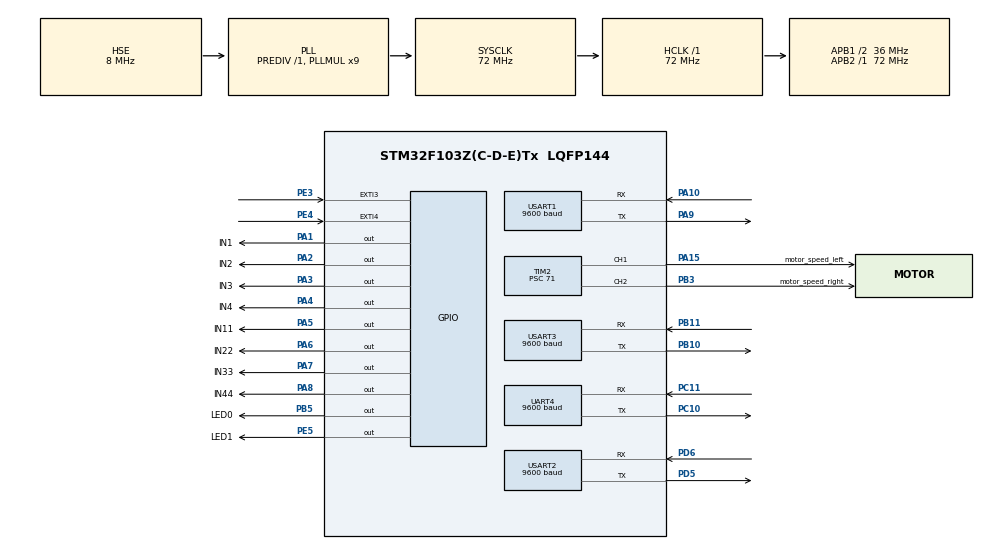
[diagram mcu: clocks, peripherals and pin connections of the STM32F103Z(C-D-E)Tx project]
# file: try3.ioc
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Mcu.Family=STM32F1
Mcu.Name=STM32F103Z(C-D-E)Tx
Mcu.Package=LQFP144
NVIC.EXTI3_IRQn=true\:0\:0\:false\:false\:true\:true\:true
NVIC.EXTI4_IRQn=true\:0\:0\:false\:false\:true\:true\:true
NVIC.PriorityGroup=NVIC_PRIORITYGROUP_4
NVIC.UART4_IRQn=true\:0\:0\:false\:false\:true\:true\:true
NVIC.USART1_IRQn=true\:0\:0\:false\:false\:true\:true\:true
NVIC.USART2_IRQn=true\:0\:0\:false\:false\:true\:true\:true
NVIC.USART3_IRQn=true\:0\:0\:false\:false\:true\:true\:true
OSC_IN.Mode=HSE-External-Oscillator
OSC_IN.Signal=RCC_OSC_IN
OSC_OUT.Mode=HSE-External-Oscillator
OSC_OUT.Signal=RCC_OSC_OUT
PA1.GPIO_Label=IN1
PA1.GPIO_PuPd=GPIO_PULLUP
PA1.GPIO_Speed=GPIO_SPEED_FREQ_HIGH
PA1.PinState=GPIO_PIN_SET
PA1.Signal=GPIO_Output
PA10.Mode=Asynchronous
PA10.Signal=USART1_RX
PA13.Mode=Serial_Wire
PA13.Signal=SYS_JTMS-SWDIO
PA14.Mode=Serial_Wire
PA14.Signal=SYS_JTCK-SWCLK
PA15.GPIO_Label=motor_speed_left
PA15.GPIO_Speed=GPIO_SPEED_FREQ_HIGH
PA15.Signal=S_TIM2_CH1_ETR
PA2.GPIO_Label=IN2
PA2.GPIO_PuPd=GPIO_PULLUP
PA2.GPIO_Speed=GPIO_SPEED_FREQ_HIGH
PA2.PinState=GPIO_PIN_SET
PA2.Signal=GPIO_Output
PA3.GPIO_Label=IN3
PA3.GPIO_PuPd=GPIO_PULLUP
PA3.GPIO_Speed=GPIO_SPEED_FREQ_HIGH
PA3.PinState=GPIO_PIN_SET
PA3.Signal=GPIO_Output
PA4.GPIO_Label=IN4
PA4.GPIO_PuPd=GPIO_PULLUP
PA4.GPIO_Speed=GPIO_SPEED_FREQ_HIGH
PA4.PinState=GPIO_PIN_SET
PA4.Signal=GPIO_Output
PA5.GPIO_Label=IN11
PA5.GPIO_PuPd=GPIO_PULLUP
PA5.GPIO_Speed=GPIO_SPEED_FREQ_HIGH
PA5.PinState=GPIO_PIN_SET
PA5.Signal=GPIO_Output
PA6.GPIO_Label=IN22
PA6.GPIO_PuPd=GPIO_PULLUP
PA6.GPIO_Speed=GPIO_SPEED_FREQ_HIGH
PA6.PinState=GPIO_PIN_SET
PA6.Signal=GPIO_Output
PA7.GPIO_Label=IN33
PA7.GPIO_PuPd=GPIO_PULLUP
PA7.GPIO_Speed=GPIO_SPEED_FREQ_HIGH
PA7.PinState=GPIO_PIN_SET
PA7.Signal=GPIO_Output
PA8.GPIO_Label=IN44
PA8.GPIO_PuPd=GPIO_PULLUP
PA8.GPIO_Speed=GPIO_SPEED_FREQ_HIGH
PA8.PinState=GPIO_PIN_SET
PA8.Signal=GPIO_Output
PA9.Mode=Asynchronous
PA9.Signal=USART1_TX
PB10.Mode=Asynchronous
PB10.Signal=USART3_TX
PB11.Mode=Asynchronous
PB11.Signal=USART3_RX
PB3.GPIO_Label=motor_speed_right
PB3.GPIO_Speed=GPIO_SPEED_FREQ_HIGH
PB3.Signal=S_TIM2_CH2
PB5.GPIO_Label=LED0
PB5.Signal=GPIO_Output
PC10.Mode=Asynchronous
PC10.Signal=UART4_TX
PC11.Mode=Asynchronous
PC11.Signal=UART4_RX
PC14-OSC32_IN.Mode=LSE-External-Oscillator
PC14-OSC32_IN.Signal=RCC_OSC32_IN
PC15-OSC32_OUT.Mode=LSE-External-Oscillator
PC15-OSC32_OUT.Signal=RCC_OSC32_OUT
PD5.Mode=Asynchronous
PD5.Signal=USART2_TX
PD6.Mode=Asynchronous
PD6.Signal=USART2_RX
PE3.GPIO_ModeDefaultEXTI=GPIO_MODE_IT_FALLING
PE3.GPIO_PuPd=GPIO_PULLUP
PE3.Signal=GPXTI3
PE4.GPIO_PuPd=GPIO_PULLUP
PE4.Signal=GPXTI4
PE5.GPIO_Label=LED1
PE5.Signal=GPIO_Output
ProjectManager.HeapSize=0x200
ProjectManager.StackSize=0x400
ProjectManager.TargetToolchain=MDK-ARM V5.32
RCC.AHBFreq_Value=72000000
RCC.APB1CLKDivider=RCC_HCLK_DIV2
RCC.APB1Freq_Value=36000000
RCC.APB1TimFreq_Value=72000000
RCC.APB2Freq_Value=72000000
RCC.APB2TimFreq_Value=72000000
RCC.HCLKFreq_Value=72000000
RCC.PLLMUL=RCC_PLL_MUL9
RCC.PLLSourceVirtual=RCC_PLLSOURCE_HSE
RCC.SYSCLKFreq_VALUE=72000000
RCC.SYSCLKSource=RCC_SYSCLKSOURCE_PLLCLK
RCC.USBFreq_Value=72000000
SH.S_TIM2_CH1_ETR.0=TIM2_CH1,PWM Generation1 CH1
SH.S_TIM2_CH2.0=TIM2_CH2,PWM Generation2 CH2
TIM2.AutoReloadPreload=TIM_AUTORELOAD_PRELOAD_ENABLE
TIM2.Channel-PWM\ Generation1\ CH1=TIM_CHANNEL_1
TIM2.Channel-PWM\ Generation2\ CH2=TIM_CHANNEL_2
TIM2.Period=19999
TIM2.Prescaler=71
UART4.BaudRate=9600
UART4.VirtualMode=Asynchronous
USART1.BaudRate=9600
USART1.VirtualMode=VM_ASYNC
USART1.WordLength=WORDLENGTH_8B
USART2.BaudRate=9600
USART2.VirtualMode=VM_ASYNC
USART3.BaudRate=9600
USART3.VirtualMode=VM_ASYNC
VP_TIM2_VS_ClockSourceINT.Mode=Internal
board=custom

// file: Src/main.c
/* USER CODE BEGIN Header */
/**
  ******************************************************************************
  * @file           : main.c
  * @brief          : Main program body
  ******************************************************************************
  * @attention
  *
  * <h2><center>&copy; Copyright (c) 2022 STMicroelectronics.
  * All rights reserved.</center></h2>
  *
  * This software component is licensed by ST under BSD 3-Clause license,
  * the "License"; You may not use this file except in compliance with the
  * License. You may obtain a copy of the License at:
  *                        opensource.org/licenses/BSD-3-Clause
  *
  ******************************************************************************
  */
/* USER CODE END Header */
#include "main.h"

/* USER CODE BEGIN Includes */
#include "./motor/motor_control.h"
#include "usart.h"
#include "./arm/arm.h"
#include "./foot/foot.h"
#include "./music/music.h"
/* USER CODE END Includes */

TIM_HandleTypeDef htim2;

UART_HandleTypeDef huart4;
UART_HandleTypeDef huart1;
UART_HandleTypeDef huart2;
UART_HandleTypeDef huart3;

void SystemClock_Config(void);
static void MX_GPIO_Init(void);
static void MX_TIM2_Init(void);
static void MX_USART2_UART_Init(void);
static void MX_USART1_UART_Init(void);
static void MX_USART3_UART_Init(void);
static void MX_UART4_Init(void);

int main(void)
{

  /* MCU Configuration--------------------------------------------------------*/

  /* Reset of all peripherals, Initializes the Flash interface and the Systick. */
  HAL_Init();

  /* Configure the system clock */
  SystemClock_Config();

  /* Initialize all configured peripherals */
  MX_GPIO_Init();
  MX_TIM2_Init();
  MX_USART2_UART_Init();
  MX_USART1_UART_Init();
  MX_USART3_UART_Init();
  MX_UART4_Init();
  /* USER CODE BEGIN 2 */
//HAL_GPIO_WritePin(GPIOB, LED0_Pin,GPIO_PIN_RESET);
//HAL_Delay(1000);
//HAL_GPIO_WritePin(GPIOB, LED0_Pin,GPIO_PIN_SET);

HAL_TIM_PWM_Start(&htim2, TIM_CHANNEL_1);   //??TIM2??1?PWM,???????PWM??
HAL_TIM_PWM_Start(&htim2, TIM_CHANNEL_2);   //??TIM2??1?PWM,???????PWM??
HAL_Delay(500);
HAL_GPIO_TogglePin(GPIOB, LED0_Pin);
HAL_Delay(500);
HAL_UART_Receive_IT(&huart2,(uint8_t *)&USART2_NewData,1); //??????

uint8_t last_mode = 0xff;

ARM_AHEAD_1();

  /* USER CODE END 2 */

  /* Infinite loop */
  /* USER CODE BEGIN WHILE */
  while (1)
  {

		if(USART2_RX_STA&0x8000)              //?????????(??????USART2)
      {
    	 if((USART2_RX_STA&0x7FFF) ==10 	//??????3?
    			&& USART2_RX_BUF[0]==0xA5 	//?????1????????0xA5
    			&& USART2_RX_BUF[9]==(USART2_RX_BUF[1] + USART2_RX_BUF[2] + USART2_RX_BUF[3] + USART2_RX_BUF[4] + USART2_RX_BUF[5] + USART2_RX_BUF[6] + USART2_RX_BUF[7] + USART2_RX_BUF[8])%0x100)	//?????????????????8?
    	{

				uint8_t move_dir = USART2_RX_BUF[1];
				uint8_t left_speed = USART2_RX_BUF[2];
				uint8_t right_speed = USART2_RX_BUF[3];
				uint8_t arm = USART2_RX_BUF[4];
				uint8_t grasp = USART2_RX_BUF[5];
				uint8_t mode = USART2_RX_BUF[6];
				uint8_t dance = USART2_RX_BUF[7];
				uint8_t save = USART2_RX_BUF[8];

					switch(left_speed)      //left speed switch
    		 {   //TIM2????ARR???CubeMX????20000
    		 case(0x00):__HAL_TIM_SET_COMPARE(&htim2, TIM_CHANNEL_1,0);break;    //0%???
				 case(0x14):__HAL_TIM_SET_COMPARE(&htim2, TIM_CHANNEL_1,4000) ;break;//20%???
				 case(0x28):__HAL_TIM_SET_COMPARE(&htim2, TIM_CHANNEL_1,8000) ;break;//40%???
				 case(0x3C):__HAL_TIM_SET_COMPARE(&htim2, TIM_CHANNEL_1,12000);break;//60%???
				 case(0x50):__HAL_TIM_SET_COMPARE(&htim2, TIM_CHANNEL_1,16000);break;//80%???
				 case(0x64):__HAL_TIM_SET_COMPARE(&htim2, TIM_CHANNEL_1,20000);break;//100%???
				 default:break;
    		 }

				 switch(right_speed)      //right speed switch
    		 {   //TIM2????ARR???CubeMX????20000
    		 case(0x00):__HAL_TIM_SET_COMPARE(&htim2, TIM_CHANNEL_2,0);break;    //0%???
				 case(0x14):__HAL_TIM_SET_COMPARE(&htim2, TIM_CHANNEL_2,4000) ;break;//20%???
				 case(0x28):__HAL_TIM_SET_COMPARE(&htim2, TIM_CHANNEL_2,8000) ;break;//40%???
				 case(0x3C):__HAL_TIM_SET_COMPARE(&htim2, TIM_CHANNEL_2,12000);break;//60%???
				 case(0x50):__HAL_TIM_SET_COMPARE(&htim2, TIM_CHANNEL_2,16000);break;//80%???
				 case(0x64):__HAL_TIM_SET_COMPARE(&htim2, TIM_CHANNEL_2,20000);break;//100%???
				 default:break;
    		 }

    		 switch(mode)
				 {
					 case(0x00):			//car move
					 {
						 if(last_mode != 0xff && last_mode != mode)	//switch to car
						 {
							TO_CAR();

							//hand
							//RESET: back
							//SET: forward
							HAL_GPIO_WritePin(GPIOF ,GPIO_PIN_13,GPIO_PIN_RESET );
							HAL_TIM_PWM_Start(&htim8,TIM_CHANNEL_2);
							HAL_Delay (1000);
							HAL_TIM_PWM_Stop(&htim8,TIM_CHANNEL_2);

						 }
						 switch(move_dir)      //motion switch
						 {
							 case(0x01):CAR_GO();break;
							 case(0x02):CAR_RGO();break;
							 case(0x03):CAR_LGO();break;
							 case(0x04):CAR_BACK();break;
							 case(0x00):CAR_STOP();break;
							 default:break;
						 }
						 break;
					 }
						case(0x01):				//foot mode (tri)
						{
							if(last_mode != 0xff && last_mode != mode && last_mode !=0x02 )	//switch to foot
						 {
							TO_FOOT();

							//hand
							//RESET: back
							//SET: forward
							HAL_GPIO_WritePin(GPIOF ,GPIO_PIN_13,GPIO_PIN_SET );
							HAL_TIM_PWM_Start(&htim8,TIM_CHANNEL_2);
							HAL_Delay (1000);
							HAL_TIM_PWM_Stop(&htim8,TIM_CHANNEL_2);

						 }
						 switch(move_dir)      //motion switch
						 {
							 case(0x01):
							 {
								 //MUSIC_WALK();
								 TRIWALK_AHEAD();
								 break;
							 }
							 case(0x02):TRIWALK_LEFT();break;
							 case(0x03):TRIWALK_RIGHT();break;
							 case(0x04):TRIWALK_BACK();break;
							 case(0x00):FOOT_INIT();break;
							 default:break;
						 }

						 if(dance == 0x01)
						 {
								DANCE_WAVE();
								//MUSIC_WAVE();
						 }
						 break;
						}
						case(0x02):				//foot mode (wave)
						{
							if(last_mode != 0xff && last_mode != mode && last_mode !=0x01 )	//switch to foot
						 {
							TO_FOOT();

							//hand
							//RESET: back
							//SET: forward
							HAL_GPIO_WritePin(GPIOF ,GPIO_PIN_13,GPIO_PIN_SET );
							HAL_TIM_PWM_Start(&htim8,TIM_CHANNEL_2);
							HAL_Delay (1000);
							HAL_TIM_PWM_Stop(&htim8,TIM_CHANNEL_2);

						 }
							switch(move_dir)      //motion switch
							{
							 case(0x01):WAVEWALK_AHEAD();break;
							 case(0x02):WAVEWALK_LEFT();break;
							 case(0x03):WAVEWALK_RIGHT();break;
							 case(0x04):WAVEWALK_BACK();break;
							 case(0x00):FOOT_INIT();break;
							 default:break;
						 }

						 if(dance == 0x01)
						 {
								DANCE_UP_DOWN();
								//MUSIC_UP_DOWN();
						 }
						 break;
						}
						case(0x03):				//box mode
						{
							if(last_mode != 0xff && last_mode != mode)	//switch to box
						 {
							TO_BOX();
							if(last_mode == 0x00)
							 {

							 }
							 else if(last_mode == 0x01 || last_mode == 0x02)
							 {
								//hand
								//RESET: back
								//SET: forward
								HAL_GPIO_WritePin(GPIOF ,GPIO_PIN_13,GPIO_PIN_RESET );
								HAL_TIM_PWM_Start(&htim8,TIM_CHANNEL_2);
								HAL_Delay (1000);
								HAL_TIM_PWM_Stop(&htim8,TIM_CHANNEL_2);
							 }
						 }

						}
						default:break;
				 }

				 switch(grasp)      //grasp control
    		 {
					case(0x01):ARM_GRASP();break;
					case(0x00):ARM_RELEASE();break;
    		 default:break;
    		 }

				 switch(arm)      //arm control
    		 {
					 case(0x9C):ARM_BACK_2();break;
					 case(0xce):ARM_BACK_1();break;
					 case(0x00):ARM_MID();break;
					 case(0x32):ARM_AHEAD_1();break;
					 case(0x64):ARM_AHEAD_2(); break;
    		 default:break;
    		 }

				 last_mode = mode;
    	 }
       USART2_RX_STA=0;//????0,??????

      }
    /* USER CODE END WHILE */

  }
}

void SystemClock_Config(void)
{
  RCC_OscInitTypeDef RCC_OscInitStruct = {0};
  RCC_ClkInitTypeDef RCC_ClkInitStruct = {0};

  /** Initializes the RCC Oscillators according to the specified parameters
  * in the RCC_OscInitTypeDef structure.
  */
  RCC_OscInitStruct.OscillatorType = RCC_OSCILLATORTYPE_HSE;
  RCC_OscInitStruct.HSEState = RCC_HSE_ON;
  RCC_OscInitStruct.HSEPredivValue = RCC_HSE_PREDIV_DIV1;
  RCC_OscInitStruct.HSIState = RCC_HSI_ON;
  RCC_OscInitStruct.PLL.PLLState = RCC_PLL_ON;
  RCC_OscInitStruct.PLL.PLLSource = RCC_PLLSOURCE_HSE;
  RCC_OscInitStruct.PLL.PLLMUL = RCC_PLL_MUL9;
  if (HAL_RCC_OscConfig(&RCC_OscInitStruct) != HAL_OK)
  {
    Error_Handler();
  }
  /** Initializes the CPU, AHB and APB buses clocks
  */
  RCC_ClkInitStruct.ClockType = RCC_CLOCKTYPE_HCLK|RCC_CLOCKTYPE_SYSCLK
                              |RCC_CLOCKTYPE_PCLK1|RCC_CLOCKTYPE_PCLK2;
  RCC_ClkInitStruct.SYSCLKSource = RCC_SYSCLKSOURCE_PLLCLK;
  RCC_ClkInitStruct.AHBCLKDivider = RCC_SYSCLK_DIV1;
  RCC_ClkInitStruct.APB1CLKDivider = RCC_HCLK_DIV2;
  RCC_ClkInitStruct.APB2CLKDivider = RCC_HCLK_DIV1;

  if (HAL_RCC_ClockConfig(&RCC_ClkInitStruct, FLASH_LATENCY_2) != HAL_OK)
  {
    Error_Handler();
  }
}

static void MX_TIM2_Init(void)
{

  TIM_ClockConfigTypeDef sClockSourceConfig = {0};
  TIM_MasterConfigTypeDef sMasterConfig = {0};
  TIM_OC_InitTypeDef sConfigOC = {0};

  htim2.Instance = TIM2;
  htim2.Init.Prescaler = 71;
  htim2.Init.CounterMode = TIM_COUNTERMODE_UP;
  htim2.Init.Period = 19999;
  htim2.Init.ClockDivision = TIM_CLOCKDIVISION_DIV1;
  htim2.Init.AutoReloadPreload = TIM_AUTORELOAD_PRELOAD_ENABLE;
  if (HAL_TIM_Base_Init(&htim2) != HAL_OK)
  {
    Error_Handler();
  }
  sClockSourceConfig.ClockSource = TIM_CLOCKSOURCE_INTERNAL;
  if (HAL_TIM_ConfigClockSource(&htim2, &sClockSourceConfig) != HAL_OK)
  {
    Error_Handler();
  }
  if (HAL_TIM_PWM_Init(&htim2) != HAL_OK)
  {
    Error_Handler();
  }
  sMasterConfig.MasterOutputTrigger = TIM_TRGO_RESET;
  sMasterConfig.MasterSlaveMode = TIM_MASTERSLAVEMODE_DISABLE;
  if (HAL_TIMEx_MasterConfigSynchronization(&htim2, &sMasterConfig) != HAL_OK)
  {
    Error_Handler();
  }
  sConfigOC.OCMode = TIM_OCMODE_PWM1;
  sConfigOC.Pulse = 0;
  sConfigOC.OCPolarity = TIM_OCPOLARITY_HIGH;
  sConfigOC.OCFastMode = TIM_OCFAST_DISABLE;
  if (HAL_TIM_PWM_ConfigChannel(&htim2, &sConfigOC, TIM_CHANNEL_1) != HAL_OK)
  {
    Error_Handler();
  }
  if (HAL_TIM_PWM_ConfigChannel(&htim2, &sConfigOC, TIM_CHANNEL_2) != HAL_OK)
  {
    Error_Handler();
  }
  HAL_TIM_MspPostInit(&htim2);

}

static void MX_UART4_Init(void)
{

  huart4.Instance = UART4;
  huart4.Init.BaudRate = 9600;
  huart4.Init.WordLength = UART_WORDLENGTH_8B;
  huart4.Init.StopBits = UART_STOPBITS_1;
  huart4.Init.Parity = UART_PARITY_NONE;
  huart4.Init.Mode = UART_MODE_TX_RX;
  huart4.Init.HwFlowCtl = UART_HWCONTROL_NONE;
  huart4.Init.OverSampling = UART_OVERSAMPLING_16;
  if (HAL_UART_Init(&huart4) != HAL_OK)
  {
    Error_Handler();
  }

}

static void MX_USART1_UART_Init(void)
{

  huart1.Instance = USART1;
  huart1.Init.BaudRate = 9600;
  huart1.Init.WordLength = UART_WORDLENGTH_8B;
  huart1.Init.StopBits = UART_STOPBITS_1;
  huart1.Init.Parity = UART_PARITY_NONE;
  huart1.Init.Mode = UART_MODE_TX_RX;
  huart1.Init.HwFlowCtl = UART_HWCONTROL_NONE;
  huart1.Init.OverSampling = UART_OVERSAMPLING_16;
  if (HAL_UART_Init(&huart1) != HAL_OK)
  {
    Error_Handler();
  }

}

static void MX_USART2_UART_Init(void)
{

  huart2.Instance = USART2;
  huart2.Init.BaudRate = 9600;
  huart2.Init.WordLength = UART_WORDLENGTH_8B;
  huart2.Init.StopBits = UART_STOPBITS_1;
  huart2.Init.Parity = UART_PARITY_NONE;
  huart2.Init.Mode = UART_MODE_TX_RX;
  huart2.Init.HwFlowCtl = UART_HWCONTROL_NONE;
  huart2.Init.OverSampling = UART_OVERSAMPLING_16;
  if (HAL_UART_Init(&huart2) != HAL_OK)
  {
    Error_Handler();
  }

}

static void MX_USART3_UART_Init(void)
{

  huart3.Instance = USART3;
  huart3.Init.BaudRate = 9600;
  huart3.Init.WordLength = UART_WORDLENGTH_8B;
  huart3.Init.StopBits = UART_STOPBITS_1;
  huart3.Init.Parity = UART_PARITY_NONE;
  huart3.Init.Mode = UART_MODE_TX_RX;
  huart3.Init.HwFlowCtl = UART_HWCONTROL_NONE;
  huart3.Init.OverSampling = UART_OVERSAMPLING_16;
  if (HAL_UART_Init(&huart3) != HAL_OK)
  {
    Error_Handler();
  }

}

static void MX_GPIO_Init(void)
{
  GPIO_InitTypeDef GPIO_InitStruct = {0};

  /* GPIO Ports Clock Enable */
  __HAL_RCC_GPIOE_CLK_ENABLE();
  __HAL_RCC_GPIOC_CLK_ENABLE();
  __HAL_RCC_GPIOA_CLK_ENABLE();
  __HAL_RCC_GPIOB_CLK_ENABLE();
  __HAL_RCC_GPIOD_CLK_ENABLE();

  /*Configure GPIO pin Output Level */
  HAL_GPIO_WritePin(LED1_GPIO_Port, LED1_Pin, GPIO_PIN_RESET);

  /*Configure GPIO pin Output Level */
  HAL_GPIO_WritePin(GPIOA, IN1_Pin|IN2_Pin|IN3_Pin|IN4_Pin
                          |IN11_Pin|IN22_Pin|IN33_Pin|IN44_Pin, GPIO_PIN_SET);

  /*Configure GPIO pin Output Level */
  HAL_GPIO_WritePin(LED0_GPIO_Port, LED0_Pin, GPIO_PIN_RESET);

  /*Configure GPIO pin : PE3 */
  GPIO_InitStruct.Pin = GPIO_PIN_3;
  GPIO_InitStruct.Mode = GPIO_MODE_IT_FALLING;
  GPIO_InitStruct.Pull = GPIO_PULLUP;
  HAL_GPIO_Init(GPIOE, &GPIO_InitStruct);

  /*Configure GPIO pin : PE4 */
  GPIO_InitStruct.Pin = GPIO_PIN_4;
  GPIO_InitStruct.Mode = GPIO_MODE_IT_RISING;
  GPIO_InitStruct.Pull = GPIO_PULLUP;
  HAL_GPIO_Init(GPIOE, &GPIO_InitStruct);

  /*Configure GPIO pin : LED1_Pin */
  GPIO_InitStruct.Pin = LED1_Pin;
  GPIO_InitStruct.Mode = GPIO_MODE_OUTPUT_PP;
  GPIO_InitStruct.Pull = GPIO_NOPULL;
  GPIO_InitStruct.Speed = GPIO_SPEED_FREQ_LOW;
  HAL_GPIO_Init(LED1_GPIO_Port, &GPIO_InitStruct);

  /*Configure GPIO pins : IN1_Pin IN2_Pin IN3_Pin IN4_Pin
                           IN11_Pin IN22_Pin IN33_Pin IN44_Pin */
  GPIO_InitStruct.Pin = IN1_Pin|IN2_Pin|IN3_Pin|IN4_Pin
                          |IN11_Pin|IN22_Pin|IN33_Pin|IN44_Pin;
  GPIO_InitStruct.Mode = GPIO_MODE_OUTPUT_PP;
  GPIO_InitStruct.Pull = GPIO_PULLUP;
  GPIO_InitStruct.Speed = GPIO_SPEED_FREQ_HIGH;
  HAL_GPIO_Init(GPIOA, &GPIO_InitStruct);

  /*Configure GPIO pin : LED0_Pin */
  GPIO_InitStruct.Pin = LED0_Pin;
  GPIO_InitStruct.Mode = GPIO_MODE_OUTPUT_PP;
  GPIO_InitStruct.Pull = GPIO_NOPULL;
  GPIO_InitStruct.Speed = GPIO_SPEED_FREQ_LOW;
  HAL_GPIO_Init(LED0_GPIO_Port, &GPIO_InitStruct);

  /* EXTI interrupt init*/
  HAL_NVIC_SetPriority(EXTI3_IRQn, 0, 0);
  HAL_NVIC_EnableIRQ(EXTI3_IRQn);

  HAL_NVIC_SetPriority(EXTI4_IRQn, 0, 0);
  HAL_NVIC_EnableIRQ(EXTI4_IRQn);

}

void Error_Handler(void)
{
  __disable_irq();
  while (1)
  {
  }
}

/************************ (C) COPYRIGHT STMicroelectronics *****END OF FILE****/
